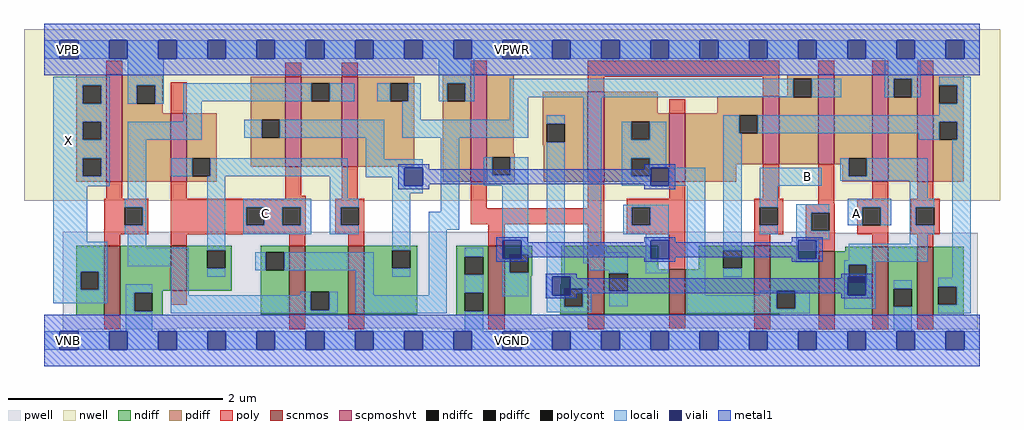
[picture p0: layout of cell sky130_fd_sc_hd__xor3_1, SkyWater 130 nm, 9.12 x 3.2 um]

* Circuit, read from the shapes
.subckt sky130_fd_sc_hd__xor3_1 A B C VGND VNB VPB VPWR X
XM1 VGND n1 X VNB sky130_fd_pr__nfet_01v8 w=0.65 l=0.15
XM2 n2 C VGND VNB sky130_fd_pr__nfet_01v8 w=0.42 l=0.15
XM3 n1 C n3 VNB sky130_fd_pr__nfet_01v8 w=0.64 l=0.15
XM4 n4 n2 n1 VNB sky130_fd_pr__nfet_01v8 w=0.64 l=0.15
XM5 n5 B VGND VNB sky130_fd_pr__nfet_01v8 w=0.65 l=0.15
XM6 n3 B n6 VNB sky130_fd_pr__nfet_01v8 w=0.64 l=0.15
XM7 n7 n5 n3 VNB sky130_fd_pr__nfet_01v8 w=0.42 l=0.15
XM8 n4 B n7 VNB sky130_fd_pr__nfet_01v8 w=0.64 l=0.15
XM9 n6 n5 n4 VNB sky130_fd_pr__nfet_01v8 w=0.6 l=0.15
XM10 VGND A n6 VNB sky130_fd_pr__nfet_01v8 w=0.64 l=0.15
XM11 n7 n6 VGND VNB sky130_fd_pr__nfet_01v8 w=0.64 l=0.15
XM12 VPWR n1 X VPB sky130_fd_pr__pfet_01v8_hvt w=1 l=0.15
XM13 n2 C VPWR VPB sky130_fd_pr__pfet_01v8_hvt w=0.64 l=0.15
XM14 n1 C n4 VPB sky130_fd_pr__pfet_01v8_hvt w=0.84 l=0.15
XM15 n3 n2 n1 VPB sky130_fd_pr__pfet_01v8_hvt w=0.84 l=0.15
XM16 n5 B VPWR VPB sky130_fd_pr__pfet_01v8_hvt w=1 l=0.15
XM17 n4 B n6 VPB sky130_fd_pr__pfet_01v8_hvt w=0.84 l=0.15
XM18 n7 n5 n4 VPB sky130_fd_pr__pfet_01v8_hvt w=0.64 l=0.15
XM19 n3 B n7 VPB sky130_fd_pr__pfet_01v8_hvt w=0.64 l=0.15
XM20 n6 n5 n3 VPB sky130_fd_pr__pfet_01v8_hvt w=0.84 l=0.15
XM21 VPWR A n6 VPB sky130_fd_pr__pfet_01v8_hvt w=1 l=0.15
XM22 n7 n6 VPWR VPB sky130_fd_pr__pfet_01v8_hvt w=1 l=0.15
.ends

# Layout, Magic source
magic
tech sky130B
magscale 1 2
<< nwell >>
rect -38 261 1786 582
<< pwell >>
rect 34 201 1433 203
rect 34 23 1744 201
rect 34 21 247 23
rect 744 21 936 23
rect 1348 21 1744 23
rect 34 17 63 21
rect 29 -17 63 17
<< scnmos >>
rect 112 47 142 177
rect 236 93 266 177
rect 458 49 488 177
rect 568 49 598 177
rect 830 47 860 177
rect 1016 49 1046 177
rect 1168 49 1198 133
rect 1327 49 1357 177
rect 1447 47 1477 167
rect 1547 47 1577 175
rect 1631 47 1661 175
<< scpmoshvt >>
rect 116 297 146 497
rect 236 297 266 425
rect 450 325 480 493
rect 556 325 586 493
rect 797 297 827 497
rect 1016 297 1046 465
rect 1168 297 1198 425
rect 1343 329 1373 457
rect 1446 329 1476 497
rect 1547 297 1577 497
rect 1631 297 1661 497
<< ndiff >>
rect 60 129 112 177
rect 60 95 68 129
rect 102 95 112 129
rect 60 47 112 95
rect 142 93 236 177
rect 266 169 350 177
rect 266 135 304 169
rect 338 135 350 169
rect 266 93 350 135
rect 404 165 458 177
rect 404 131 414 165
rect 448 131 458 165
rect 142 89 221 93
rect 142 55 168 89
rect 202 55 221 89
rect 142 47 221 55
rect 404 49 458 131
rect 488 91 568 177
rect 488 57 498 91
rect 532 57 568 91
rect 488 49 568 57
rect 598 169 697 177
rect 598 135 650 169
rect 684 135 697 169
rect 598 49 697 135
rect 770 157 830 177
rect 770 123 786 157
rect 820 123 830 157
rect 770 89 830 123
rect 770 55 786 89
rect 820 55 830 89
rect 770 47 830 55
rect 860 161 912 177
rect 860 127 870 161
rect 904 127 912 161
rect 860 121 912 127
rect 860 47 910 121
rect 966 105 1016 177
rect 964 97 1016 105
rect 964 63 972 97
rect 1006 63 1016 97
rect 964 49 1016 63
rect 1046 133 1147 177
rect 1223 169 1327 177
rect 1223 135 1269 169
rect 1303 135 1327 169
rect 1223 133 1327 135
rect 1046 126 1168 133
rect 1046 92 1056 126
rect 1090 92 1168 126
rect 1046 49 1168 92
rect 1198 49 1327 133
rect 1357 167 1407 177
rect 1497 167 1547 175
rect 1357 93 1447 167
rect 1357 59 1369 93
rect 1403 59 1447 93
rect 1357 49 1447 59
rect 1374 47 1447 49
rect 1477 142 1547 167
rect 1477 108 1503 142
rect 1537 108 1547 142
rect 1477 47 1547 108
rect 1577 97 1631 175
rect 1577 63 1587 97
rect 1621 63 1631 97
rect 1577 47 1631 63
rect 1661 101 1718 175
rect 1661 67 1671 101
rect 1705 67 1718 101
rect 1661 47 1718 67
<< pdiff >>
rect 60 477 116 497
rect 60 443 72 477
rect 106 443 116 477
rect 60 409 116 443
rect 60 375 72 409
rect 106 375 116 409
rect 60 341 116 375
rect 60 307 72 341
rect 106 307 116 341
rect 60 297 116 307
rect 146 477 221 497
rect 146 443 173 477
rect 207 443 221 477
rect 146 425 221 443
rect 146 297 236 425
rect 266 341 322 425
rect 266 307 276 341
rect 310 307 322 341
rect 386 413 450 493
rect 386 379 406 413
rect 440 379 450 413
rect 386 325 450 379
rect 480 481 556 493
rect 480 447 499 481
rect 533 447 556 481
rect 480 325 556 447
rect 586 481 691 493
rect 586 447 646 481
rect 680 447 691 481
rect 586 325 691 447
rect 745 481 797 497
rect 745 447 753 481
rect 787 447 797 481
rect 266 297 322 307
rect 745 297 797 447
rect 827 349 877 497
rect 931 405 1016 465
rect 931 371 939 405
rect 973 371 1016 405
rect 931 365 1016 371
rect 827 343 879 349
rect 827 309 837 343
rect 871 309 879 343
rect 827 297 879 309
rect 933 297 1016 365
rect 1046 425 1146 465
rect 1388 489 1446 497
rect 1388 457 1400 489
rect 1258 425 1343 457
rect 1046 409 1168 425
rect 1046 375 1097 409
rect 1131 375 1168 409
rect 1046 341 1168 375
rect 1046 307 1097 341
rect 1131 307 1168 341
rect 1046 297 1168 307
rect 1198 421 1343 425
rect 1198 387 1299 421
rect 1333 387 1343 421
rect 1198 329 1343 387
rect 1373 455 1400 457
rect 1434 455 1446 489
rect 1373 329 1446 455
rect 1476 341 1547 497
rect 1476 329 1503 341
rect 1198 297 1293 329
rect 1491 307 1503 329
rect 1537 307 1547 341
rect 1491 297 1547 307
rect 1577 489 1631 497
rect 1577 455 1587 489
rect 1621 455 1631 489
rect 1577 297 1631 455
rect 1661 477 1718 497
rect 1661 443 1672 477
rect 1706 443 1718 477
rect 1661 409 1718 443
rect 1661 375 1672 409
rect 1706 375 1718 409
rect 1661 297 1718 375
<< ndiffc >>
rect 68 95 102 129
rect 304 135 338 169
rect 414 131 448 165
rect 168 55 202 89
rect 498 57 532 91
rect 650 135 684 169
rect 786 123 820 157
rect 786 55 820 89
rect 870 127 904 161
rect 972 63 1006 97
rect 1269 135 1303 169
rect 1056 92 1090 126
rect 1369 59 1403 93
rect 1503 108 1537 142
rect 1587 63 1621 97
rect 1671 67 1705 101
<< pdiffc >>
rect 72 443 106 477
rect 72 375 106 409
rect 72 307 106 341
rect 173 443 207 477
rect 276 307 310 341
rect 406 379 440 413
rect 499 447 533 481
rect 646 447 680 481
rect 753 447 787 481
rect 939 371 973 405
rect 837 309 871 343
rect 1097 375 1131 409
rect 1097 307 1131 341
rect 1299 387 1333 421
rect 1400 455 1434 489
rect 1503 307 1537 341
rect 1587 455 1621 489
rect 1672 443 1706 477
rect 1672 375 1706 409
<< poly >>
rect 116 497 146 523
rect 450 493 480 519
rect 556 493 586 519
rect 797 497 827 523
rect 236 425 266 483
rect 116 265 146 297
rect 236 265 266 297
rect 450 271 480 325
rect 450 265 489 271
rect 556 265 586 325
rect 1016 493 1373 523
rect 1446 497 1476 523
rect 1547 497 1577 523
rect 1631 497 1661 523
rect 1016 465 1046 493
rect 1343 457 1373 493
rect 1168 425 1198 451
rect 112 249 194 265
rect 112 215 150 249
rect 184 215 194 249
rect 112 199 194 215
rect 236 249 489 265
rect 236 215 377 249
rect 411 215 445 249
rect 479 215 489 249
rect 236 199 489 215
rect 544 249 598 265
rect 544 215 554 249
rect 588 215 598 249
rect 797 247 827 297
rect 1016 247 1046 297
rect 1168 265 1198 297
rect 1343 265 1373 329
rect 797 217 1046 247
rect 544 199 598 215
rect 112 177 142 199
rect 236 177 266 199
rect 458 197 489 199
rect 458 177 488 197
rect 568 177 598 199
rect 830 177 860 217
rect 1016 177 1046 217
rect 1088 249 1198 265
rect 1088 215 1098 249
rect 1132 215 1198 249
rect 1088 199 1198 215
rect 236 67 266 93
rect 112 21 142 47
rect 458 21 488 49
rect 568 21 598 49
rect 1168 133 1198 199
rect 1327 249 1381 265
rect 1446 256 1476 329
rect 1547 265 1577 297
rect 1631 265 1661 297
rect 1446 255 1477 256
rect 1327 215 1337 249
rect 1371 215 1381 249
rect 1327 199 1381 215
rect 1423 239 1477 255
rect 1423 205 1433 239
rect 1467 205 1477 239
rect 1327 177 1357 199
rect 1423 189 1477 205
rect 1519 249 1577 265
rect 1519 215 1529 249
rect 1563 215 1577 249
rect 1519 199 1577 215
rect 1619 249 1673 265
rect 1619 215 1629 249
rect 1663 215 1673 249
rect 1619 199 1673 215
rect 1447 167 1477 189
rect 1547 175 1577 199
rect 1631 175 1661 199
rect 830 21 860 47
rect 1016 21 1046 49
rect 1168 23 1198 49
rect 1327 21 1357 49
rect 1447 21 1477 47
rect 1547 21 1577 47
rect 1631 21 1661 47
<< polycont >>
rect 150 215 184 249
rect 377 215 411 249
rect 445 215 479 249
rect 554 215 588 249
rect 1098 215 1132 249
rect 1337 215 1371 249
rect 1433 205 1467 239
rect 1529 215 1563 249
rect 1629 215 1663 249
<< locali >>
rect 0 527 29 561
rect 63 527 121 561
rect 155 527 213 561
rect 247 527 305 561
rect 339 527 397 561
rect 431 527 489 561
rect 523 527 581 561
rect 615 527 673 561
rect 707 527 765 561
rect 799 527 857 561
rect 891 527 949 561
rect 983 527 1041 561
rect 1075 527 1133 561
rect 1167 527 1225 561
rect 1259 527 1317 561
rect 1351 527 1409 561
rect 1443 527 1501 561
rect 1535 527 1593 561
rect 1627 527 1685 561
rect 1719 527 1748 561
rect 17 477 122 493
rect 17 443 72 477
rect 106 443 122 477
rect 156 477 223 527
rect 737 481 803 527
rect 1571 489 1638 527
rect 156 443 173 477
rect 207 443 223 477
rect 260 447 499 481
rect 533 447 579 481
rect 622 447 646 481
rect 680 447 703 481
rect 737 447 753 481
rect 787 447 803 481
rect 870 455 1400 489
rect 1434 455 1489 489
rect 1571 455 1587 489
rect 1621 455 1638 489
rect 1672 477 1731 493
rect 17 409 122 443
rect 260 409 294 447
rect 669 413 703 447
rect 870 413 904 455
rect 17 375 72 409
rect 106 375 122 409
rect 17 341 122 375
rect 17 307 72 341
rect 106 307 122 341
rect 17 288 122 307
rect 156 375 294 409
rect 374 379 406 413
rect 440 379 635 413
rect 669 379 904 413
rect 939 405 973 421
rect 17 185 80 288
rect 156 265 190 375
rect 237 307 276 341
rect 310 307 567 341
rect 150 249 190 265
rect 184 215 190 249
rect 150 199 190 215
rect 17 129 118 185
rect 156 173 190 199
rect 156 139 270 173
rect 17 95 68 129
rect 102 95 118 129
rect 17 70 118 95
rect 152 89 202 105
rect 152 55 168 89
rect 152 17 202 55
rect 236 85 270 139
rect 304 169 338 307
rect 533 265 567 307
rect 601 339 635 379
rect 601 323 707 339
rect 601 305 673 323
rect 650 289 673 305
rect 650 275 707 289
rect 372 249 499 265
rect 372 215 377 249
rect 411 215 445 249
rect 479 215 499 249
rect 372 199 499 215
rect 533 249 588 265
rect 533 215 554 249
rect 533 199 588 215
rect 650 169 684 275
rect 741 241 775 379
rect 821 309 837 343
rect 871 309 904 343
rect 821 289 904 309
rect 304 119 338 135
rect 394 131 414 165
rect 448 131 616 165
rect 478 85 498 91
rect 236 57 498 85
rect 532 57 548 91
rect 236 51 548 57
rect 582 85 616 131
rect 650 119 684 135
rect 718 207 775 241
rect 718 85 752 207
rect 856 187 904 289
rect 582 51 752 85
rect 786 157 820 173
rect 786 89 820 123
rect 856 153 857 187
rect 891 161 904 187
rect 856 127 870 153
rect 856 83 904 127
rect 939 119 973 371
rect 1007 178 1041 455
rect 1706 443 1731 477
rect 1672 421 1731 443
rect 1079 375 1097 409
rect 1131 375 1162 409
rect 1079 341 1162 375
rect 1079 307 1097 341
rect 1131 323 1162 341
rect 1269 387 1299 421
rect 1333 409 1731 421
rect 1333 387 1672 409
rect 1131 307 1133 323
rect 1079 289 1133 307
rect 1167 289 1235 323
rect 1082 249 1167 254
rect 1082 215 1098 249
rect 1132 215 1167 249
rect 1082 199 1167 215
rect 1124 187 1167 199
rect 1007 165 1051 178
rect 1007 144 1090 165
rect 1017 131 1090 144
rect 1056 126 1090 131
rect 1124 153 1133 187
rect 1124 126 1167 153
rect 939 85 949 119
rect 786 17 820 55
rect 939 63 972 85
rect 1006 63 1022 97
rect 1056 64 1090 92
rect 1201 85 1235 289
rect 1269 169 1303 387
rect 1634 375 1672 387
rect 1706 375 1731 409
rect 1337 289 1453 323
rect 1487 307 1503 341
rect 1537 307 1651 341
rect 1487 299 1651 307
rect 1337 249 1371 289
rect 1617 265 1651 299
rect 1337 199 1371 215
rect 1405 239 1467 255
rect 1405 205 1433 239
rect 1501 249 1583 265
rect 1501 215 1529 249
rect 1563 215 1583 249
rect 1617 249 1663 265
rect 1617 215 1629 249
rect 1405 189 1467 205
rect 1617 199 1663 215
rect 1405 187 1446 189
rect 1405 153 1409 187
rect 1443 153 1446 187
rect 1617 181 1651 199
rect 1405 146 1446 153
rect 1503 150 1651 181
rect 1495 147 1651 150
rect 1269 119 1303 135
rect 1495 142 1553 147
rect 1495 119 1503 142
rect 1337 85 1369 93
rect 939 53 1022 63
rect 1201 59 1369 85
rect 1403 59 1430 93
rect 1495 85 1501 119
rect 1537 108 1553 142
rect 1697 117 1731 375
rect 1535 85 1553 108
rect 1495 59 1553 85
rect 1587 97 1621 113
rect 1201 51 1430 59
rect 1587 17 1621 63
rect 1671 101 1731 117
rect 1705 67 1731 101
rect 1671 51 1731 67
rect 0 -17 29 17
rect 63 -17 121 17
rect 155 -17 213 17
rect 247 -17 305 17
rect 339 -17 397 17
rect 431 -17 489 17
rect 523 -17 581 17
rect 615 -17 673 17
rect 707 -17 765 17
rect 799 -17 857 17
rect 891 -17 949 17
rect 983 -17 1041 17
rect 1075 -17 1133 17
rect 1167 -17 1225 17
rect 1259 -17 1317 17
rect 1351 -17 1409 17
rect 1443 -17 1501 17
rect 1535 -17 1593 17
rect 1627 -17 1685 17
rect 1719 -17 1748 17
<< viali >>
rect 29 527 63 561
rect 121 527 155 561
rect 213 527 247 561
rect 305 527 339 561
rect 397 527 431 561
rect 489 527 523 561
rect 581 527 615 561
rect 673 527 707 561
rect 765 527 799 561
rect 857 527 891 561
rect 949 527 983 561
rect 1041 527 1075 561
rect 1133 527 1167 561
rect 1225 527 1259 561
rect 1317 527 1351 561
rect 1409 527 1443 561
rect 1501 527 1535 561
rect 1593 527 1627 561
rect 1685 527 1719 561
rect 673 289 707 323
rect 857 161 891 187
rect 857 153 870 161
rect 870 153 891 161
rect 1133 289 1167 323
rect 1133 153 1167 187
rect 949 97 983 119
rect 949 85 972 97
rect 972 85 983 97
rect 1409 153 1443 187
rect 1501 108 1503 119
rect 1503 108 1535 119
rect 1501 85 1535 108
rect 29 -17 63 17
rect 121 -17 155 17
rect 213 -17 247 17
rect 305 -17 339 17
rect 397 -17 431 17
rect 489 -17 523 17
rect 581 -17 615 17
rect 673 -17 707 17
rect 765 -17 799 17
rect 857 -17 891 17
rect 949 -17 983 17
rect 1041 -17 1075 17
rect 1133 -17 1167 17
rect 1225 -17 1259 17
rect 1317 -17 1351 17
rect 1409 -17 1443 17
rect 1501 -17 1535 17
rect 1593 -17 1627 17
rect 1685 -17 1719 17
<< metal1 >>
rect 0 561 1748 592
rect 0 527 29 561
rect 63 527 121 561
rect 155 527 213 561
rect 247 527 305 561
rect 339 527 397 561
rect 431 527 489 561
rect 523 527 581 561
rect 615 527 673 561
rect 707 527 765 561
rect 799 527 857 561
rect 891 527 949 561
rect 983 527 1041 561
rect 1075 527 1133 561
rect 1167 527 1225 561
rect 1259 527 1317 561
rect 1351 527 1409 561
rect 1443 527 1501 561
rect 1535 527 1593 561
rect 1627 527 1685 561
rect 1719 527 1748 561
rect 0 496 1748 527
rect 661 323 719 329
rect 661 289 673 323
rect 707 320 719 323
rect 1121 323 1179 329
rect 1121 320 1133 323
rect 707 292 1133 320
rect 707 289 719 292
rect 661 283 719 289
rect 1121 289 1133 292
rect 1167 289 1179 323
rect 1121 283 1179 289
rect 845 187 903 193
rect 845 153 857 187
rect 891 184 903 187
rect 1121 187 1179 193
rect 1121 184 1133 187
rect 891 156 1133 184
rect 891 153 903 156
rect 845 147 903 153
rect 1121 153 1133 156
rect 1167 184 1179 187
rect 1397 187 1455 193
rect 1397 184 1409 187
rect 1167 156 1409 184
rect 1167 153 1179 156
rect 1121 147 1179 153
rect 1397 153 1409 156
rect 1443 153 1455 187
rect 1397 147 1455 153
rect 937 119 995 125
rect 937 85 949 119
rect 983 116 995 119
rect 1489 119 1547 125
rect 1489 116 1501 119
rect 983 88 1501 116
rect 983 85 995 88
rect 937 79 995 85
rect 1489 85 1501 88
rect 1535 85 1547 119
rect 1489 79 1547 85
rect 0 17 1748 48
rect 0 -17 29 17
rect 63 -17 121 17
rect 155 -17 213 17
rect 247 -17 305 17
rect 339 -17 397 17
rect 431 -17 489 17
rect 523 -17 581 17
rect 615 -17 673 17
rect 707 -17 765 17
rect 799 -17 857 17
rect 891 -17 949 17
rect 983 -17 1041 17
rect 1075 -17 1133 17
rect 1167 -17 1225 17
rect 1259 -17 1317 17
rect 1351 -17 1409 17
rect 1443 -17 1501 17
rect 1535 -17 1593 17
rect 1627 -17 1685 17
rect 1719 -17 1748 17
rect 0 -48 1748 -17
<< labels >>
flabel locali s 29 357 63 391 0 FreeSans 340 0 0 0 X
port 8 nsew signal output
flabel locali s 397 221 431 255 0 FreeSans 340 0 0 0 C
port 3 nsew signal input
flabel locali s 1409 289 1443 323 0 FreeSans 340 0 0 0 B
port 2 nsew signal input
flabel locali s 1501 221 1535 255 0 FreeSans 340 0 0 0 A
port 1 nsew signal input
flabel pwell s 29 -17 63 17 0 FreeSans 200 0 0 0 VNB
port 5 nsew ground bidirectional
flabel nwell s 29 527 63 561 0 FreeSans 200 0 0 0 VPB
port 6 nsew power bidirectional
flabel metal1 s 29 -17 63 17 0 FreeSans 200 0 0 0 VGND
port 4 nsew ground bidirectional abutment
flabel metal1 s 29 527 63 561 0 FreeSans 200 0 0 0 VPWR
port 7 nsew power bidirectional abutment
rlabel comment s 0 0 0 0 4 xor3_1
rlabel metal1 s 0 -48 1748 48 1 VGND
port 4 nsew ground bidirectional abutment
rlabel metal1 s 0 496 1748 592 1 VPWR
port 7 nsew power bidirectional abutment
<< properties >>
string FIXED_BBOX 0 0 1748 544
string GDS_END 673232
string GDS_FILE $PDKPATH/libs.ref/sky130_fd_sc_hd/gds/sky130_fd_sc_hd.gds
string GDS_START 661420
string LEFclass CORE
string LEFsite unithd
string LEFsymmetry X Y R90
string path 0.000 0.000 8.740 0.000 
<< end >>
